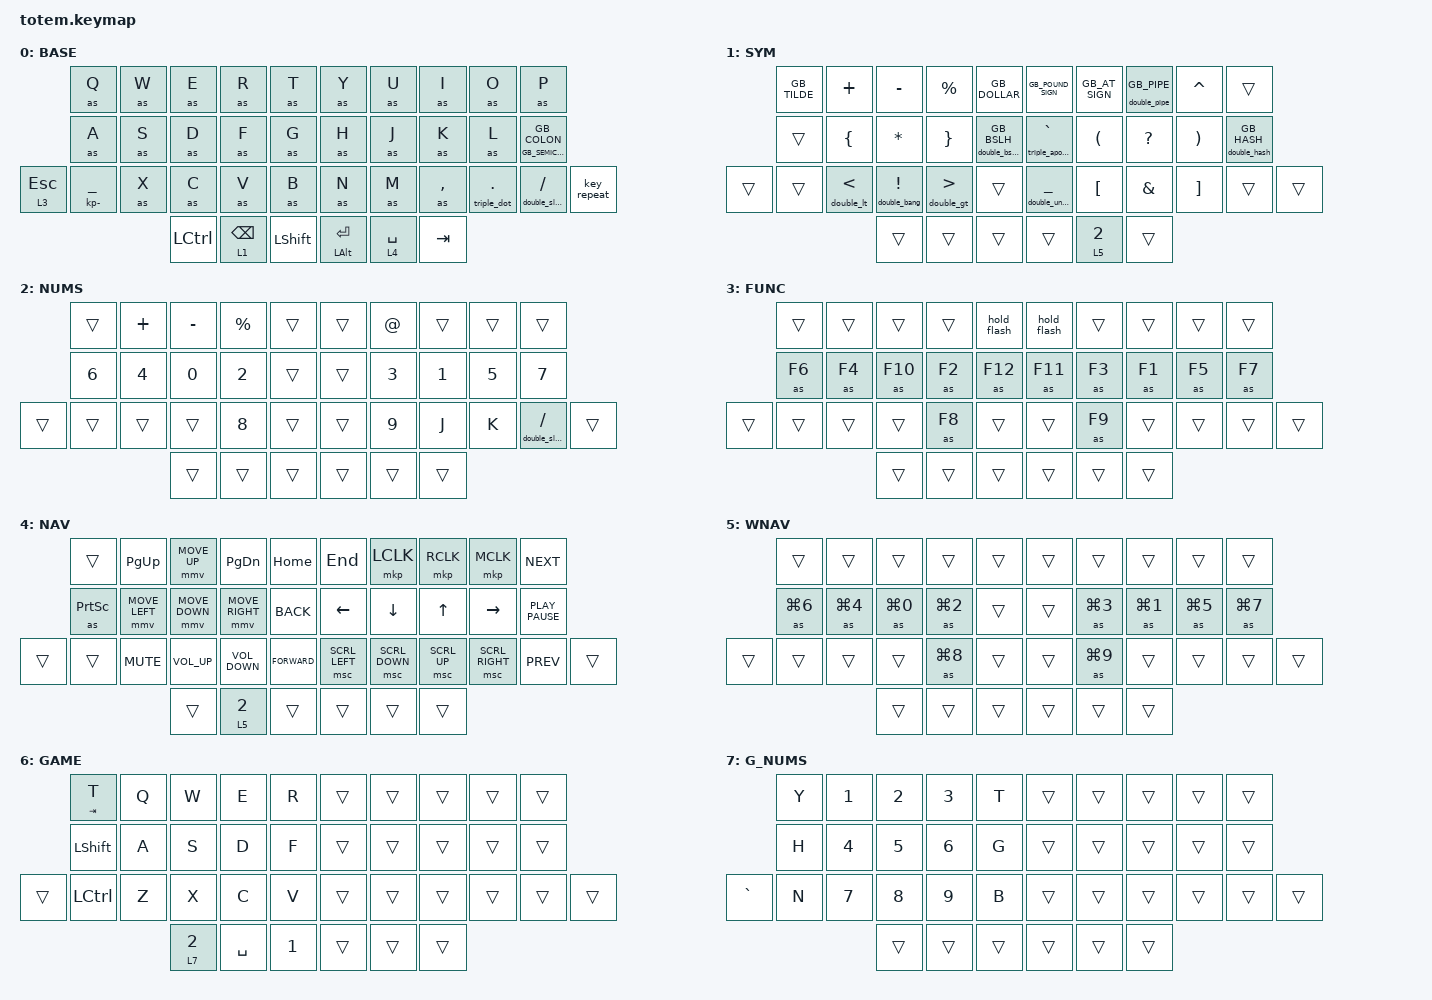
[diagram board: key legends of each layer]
//
//                                                        ▀▀▀▀▀     ▀▀▀▀▀          ▀▀█▀▀
//                                                        ▄▀▀▀▄  ▄  ▄▀▀▀▄  ▄  ▄▀▀▀▄  █  ▄▀▀▀▄
//                                                        █   █  █  █   █  █  █   █  █  █   █
//                                                         ▀▀▀   █   ▀▀▀   █   ▀▀▀   ▀   ▀▀▀
//                                                               █      ▄▄▄█▄▄▄    █   █
//                                                               ▀      █  █  █     █▄█
//                                                             ▀▀▀▀▀    █  █  █      ▀
//                                                                      ▀  ▀  ▀
//
// ▄▄▄▄▄▄▄▄▄▄▄▄▄▄▄▄▄▄▄▄▄▄▄▄▄▄▄▄▄▄▄▄▄▄▄▄▄▄▄▄▄▄▄▄▄▄▄▄▄▄▄▄▄▄▄▄▄▄▄▄▄▄▄▄▄▄▄▄▄▄▄▄▄▄▄▄▄▄▄▄▄▄▄▄▄▄▄▄▄▄▄▄▄▄▄▄▄▄▄▄▄▄▄▄▄▄▄▄▄▄▄▄▄▄▄▄▄▄▄▄▄▄▄▄▄▄▄▄▄▄▄▄▄▄▄▄▄▄▄▄▄▄▄▄▄▄▄▄▄

#include <behaviors/num_word.dtsi>
#include "keys_en_gb.h"
#include <behaviors.dtsi>
#include <dt-bindings/zmk/bt.h>
#include <dt-bindings/zmk/keys.h>
#include <dt-bindings/zmk/pointing.h>

#define BASE 0
#define NAV  1
#define SYM  2
#define ADJ  3
#define TVP1 4
#define TVP2 5

&mt {
    quick-tap-ms = <100>;
    global-quick-tap;
    flavor = "tap-preferred";
    tapping-term-ms = <170>;
};

&num_word {
    continue-list = <
    BSPC DEL
    DOT COMMA
    PLUS MINUS STAR FSLH EQUAL
    // J K AT_SIGN V G LS(G)
    >;
};

/ {
    combos {
        compatible = "zmk,combos";

        combo_ctrl_del {
            bindings = <&kp LC(DELETE)>;
            key-positions = <1 2 3>;
        };

        combo_ctrl_w_r {
            bindings = <&kp LC(W)>;
            key-positions = <7 6 8>;
        };

        combo_eq {
            bindings = <&HT_Double_Equal 0 EQUAL>;
            key-positions = <6 7>;
        };

        combo_ctrl_r {
            bindings = <&sk LCTRL>;
            key-positions = <17 18>;
        };

        combo_ctrl_l {
            bindings = <&sk LCTRL>;
            key-positions = <11 12>;
        };

        combo_del {
            bindings = <&kp DEL>;
            key-positions = <13 14>;
        };

        combo_tab {
            bindings = <&kp TAB>;
            key-positions = <11 12 13>;
        };

        combo_write {
            bindings = <&write>;
            key-positions = <16 17 18>;
        };

        combo_super_l {
            bindings = <&sk LEFT_WIN>;
            key-positions = <23 24>;
        };

        combo_super_r {
            bindings = <&sk LGUI>;
            key-positions = <27 28>;
        };

        combo_alt_l {
            bindings = <&sk LEFT_ALT>;
            key-positions = <12 13>;
        };

        combo_alt_r {
            bindings = <&sk LEFT_ALT>;
            key-positions = <16 17>;
        };

        combo_shift_l {
            bindings = <&sk LEFT_SHIFT>;
            key-positions = <24 25>;
        };

        combo_shift_r {
            bindings = <&sk LEFT_SHIFT>;
            key-positions = <26 27>;
        };

        combo_dollar {
            bindings = <&kp DOLLAR>;
            key-positions = <28 29>;
        };

        combo_close_window {
            bindings = <&quit>;
            key-positions = <22 23 24>;
            layers = <1>;
        };

        combo_capsword {
            bindings = <&caps_word>;
            key-positions = <12 17>;
        };

        combo_speech {
            bindings = <&HT_DOUBLE_SPEECH 0 GB_DQT>;
            key-positions = <11 13>;
        };

        combo_quotes {
            bindings = <&double_quote>;
            key-positions = <16 18>;
        };

        combo_leq {
            bindings = <&leq>;
            key-positions = <3 13>;
        };

        combo_from {
            bindings = <&from>;
            key-positions = <2 12>;
        };

        combo_geq2 {
            bindings = <&geq2>;
            key-positions = <6 16>;
        };

        combo_to {
            bindings = <&combo_to>;
            key-positions = <7 17>;
        };

        combo_geq1 {
            bindings = <&geq1>;
            key-positions = <13 24>;
        };

        combo_hsplit {
            bindings = <&hsplit>;
            key-positions = <11 22>;
        };

        combo_vsplit {
            bindings = <&vsplit>;
            key-positions = <22 23>;
        };

        combo_numword {
            bindings = <&numword_tapdance>;
            key-positions = <36 33>;
        };

        combo_z {
            bindings = <&kp Z>;
            key-positions = <21 22>;
        };

        combo_game_layer {
            bindings = <&tog 6>;
            key-positions = <0 21 30 9>;
        };

        combo_backspace_word {
            bindings = <&kp LC(BSPC)>;
            key-positions = <8 9>;
        };

        bt {
            bindings = <&bt BT_CLR_ALL>;
            key-positions = <22 23 24 25 26 27 28 29>;
        };

        bt_prev {
            bindings = <&bt BT_PRV>;
            key-positions = <22 23 24 25>;
        };

        bt_next {
            bindings = <&bt BT_NXT>;
            key-positions = <26 27 28 29>;
        };

        combo_l_sym_0 {
            bindings = <&kp GB_TILDE>;
            key-positions = <33 0>;
        };

        combo_l_sym_1 {
            bindings = <&kp PLUS>;
            key-positions = <33 1>;
        };

        combo_l_sym_2 {
            bindings = <&kp MINUS>;
            key-positions = <33 2>;
        };

        combo_l_sym_3 {
            bindings = <&kp PERCENT>;
            key-positions = <33 3>;
        };

        combo_l_sym_4 {
            bindings = <&kp GB_DOLLAR>;
            key-positions = <33 4>;
        };

        combo_l_sym_11 {
            bindings = <&kp LBRC>;
            key-positions = <33 11>;
        };

        combo_l_sym_12 {
            bindings = <&kp STAR>;
            key-positions = <33 12>;
        };

        combo_l_sym_13 {
            bindings = <&kp RBRC>;
            key-positions = <33 13>;
        };

        combo_l_sym_14 {
            bindings = <&HT_Double_Bslash 0 GB_BSLH>;
            key-positions = <33 14>;
        };

        combo_l_sym_22 {
            bindings = <&HT_Double_LT 0 LT>;
            key-positions = <33 22>;
        };

        combo_l_sym_23 {
            bindings = <&HT_Double_Bang 0 EXCLAMATION>;
            key-positions = <33 23>;
        };

        combo_l_sym_24 {
            bindings = <&HT_Double_GT 0 GT>;
            key-positions = <33 24>;
        };

        combo_l_num_1 {
            bindings = <&kp PLUS>;
            key-positions = <36 1>;
        };

        combo_l_num_2 {
            bindings = <&kp MINUS>;
            key-positions = <36 2>;
        };

        combo_l_num_3 {
            bindings = <&kp PERCENT>;
            key-positions = <36 3>;
        };

        combo_l_num_10 {
            bindings = <&kp N6>;
            key-positions = <36 10>;
        };

        combo_l_num_11 {
            bindings = <&kp N4>;
            key-positions = <36 11>;
        };

        combo_l_num_12 {
            bindings = <&kp N0>;
            key-positions = <36 12>;
        };

        combo_l_num_13 {
            bindings = <&kp N2>;
            key-positions = <36 13>;
        };

        combo_l_num_24 {
            bindings = <&kp N8>;
            key-positions = <36 24>;
        };

        combo_r_sym_5 {
            bindings = <&kp GB_POUND_SIGN>;
            key-positions = <36 5>;
        };

        combo_r_sym_6 {
            bindings = <&kp GB_AT_SIGN>;
            key-positions = <36 6>;
        };

        combo_r_sym_7 {
            bindings = <&HT_Double_Pipe 0 GB_PIPE>;
            key-positions = <36 7>;
        };

        combo_r_sym_8 {
            bindings = <&kp CARET>;
            key-positions = <36 8>;
        };

        combo_r_sym_15 {
            bindings = <&HT_Triple_Apostrophe 0 GRAVE>;
            key-positions = <36 15>;
        };

        combo_r_sym_16 {
            bindings = <&kp LPAR>;
            key-positions = <36 16>;
        };

        combo_r_sym_17 {
            bindings = <&kp QMARK>;
            key-positions = <36 17>;
        };

        combo_r_sym_18 {
            bindings = <&kp RPAR>;
            key-positions = <36 18>;
        };

        combo_r_sym_19 {
            bindings = <&HT_Double_Hash 0 GB_HASH>;
            key-positions = <36 19>;
        };

        combo_r_sym_26 {
            bindings = <&HT_Double_Underscore 0 UNDERSCORE>;
            key-positions = <36 26>;
        };

        combo_r_sym_27 {
            bindings = <&kp LBKT>;
            key-positions = <36 27>;
        };

        combo_r_sym_28 {
            bindings = <&kp AMPS>;
            key-positions = <36 28>;
        };

        combo_r_sym_29 {
            bindings = <&kp RBKT>;
            key-positions = <36 29>;
        };

        combo_r_num_6 {
            bindings = <&kp AT>;
            key-positions = <33 6>;
        };

        combo_r_num_16 {
            bindings = <&kp N3>;
            key-positions = <33 16>;
        };

        combo_r_num_17 {
            bindings = <&kp N1>;
            key-positions = <33 17>;
        };

        combo_r_num_18 {
            bindings = <&kp N5>;
            key-positions = <33 18>;
        };

        combo_r_num_19 {
            bindings = <&kp N7>;
            key-positions = <33 19>;
        };

        combo_r_num_27 {
            bindings = <&kp N9>;
            key-positions = <33 27>;
        };

        combo_r_num_28 {
            bindings = <&kp J>;
            key-positions = <33 28>;
        };

        combo_r_num_29 {
            bindings = <&kp K>;
            key-positions = <33 29>;
        };

        combo_flash_dongle {
            bindings = <&bootloader>;
            key-positions = <22 23 27 28 29 25 24 26>;
        };
    };

    macros {
        write: write {
            compatible = "zmk,behavior-macro";
            #binding-cells = <0>;
            bindings = <&kp ESCAPE &kp GB_COLON &kp W &kp ENTER>;
        };

        quit: quit {
            compatible = "zmk,behavior-macro";
            #binding-cells = <0>;
            bindings = <&kp LC(W) &kp Q &kp ENTER>;
        };

        from: from {
            compatible = "zmk,behavior-macro";
            #binding-cells = <0>;
            bindings = <&kp SPACE &kp LT &kp MINUS &kp SPACE>;
        };

        combo_to: to {
            compatible = "zmk,behavior-macro";
            #binding-cells = <0>;
            bindings = <&none &kp SPACE &kp MINUS &kp GT &kp SPACE>;
        };

        geq1: geq1 {
            compatible = "zmk,behavior-macro";
            #binding-cells = <0>;
            bindings = <&none &kp SPACE &kp GT &kp EQUAL &kp SPACE>;
        };

        geq2: geq2 {
            compatible = "zmk,behavior-macro";
            #binding-cells = <0>;
            bindings = <&none &kp SPACE &kp EQUAL &kp GT &kp SPACE>;
        };

        leq: leq {
            compatible = "zmk,behavior-macro";
            #binding-cells = <0>;
            bindings = <&none &kp SPACE &kp LT &kp EQUAL &kp SPACE>;
        };

        hsplit: hsplit {
            compatible = "zmk,behavior-macro";
            #binding-cells = <0>;
            bindings = <&kp LC(W) &kp S>;
        };

        vsplit: vsplit {
            compatible = "zmk,behavior-macro";
            #binding-cells = <0>;
            bindings = <&kp LC(W) &kp V>;
        };

        double_underscore: double_underscore {
            compatible = "zmk,behavior-macro";
            #binding-cells = <0>;
            bindings = <&kp UNDER &kp UNDER>;
        };

        double_lt: double_lt {
            compatible = "zmk,behavior-macro";
            #binding-cells = <0>;
            bindings = <&kp LT &kp LT>;
        };

        double_gt: double_gt {
            compatible = "zmk,behavior-macro";
            #binding-cells = <0>;
            bindings = <&kp GT &kp GT>;
        };

        double_slash: double_slash {
            compatible = "zmk,behavior-macro";
            #binding-cells = <0>;
            bindings = <&kp SLASH &kp SLASH>;
        };

        double_bslash: double_bslash {
            compatible = "zmk,behavior-macro";
            #binding-cells = <0>;
            bindings = <&kp GB_BSLH &kp GB_BSLH>;
        };

        double_hash: double_hash {
            compatible = "zmk,behavior-macro";
            #binding-cells = <0>;
            bindings = <&kp GB_HASH &kp GB_HASH>;
        };

        triple_speech: triple_speech {
            compatible = "zmk,behavior-macro";
            #binding-cells = <0>;
            bindings = <&kp GB_DQT &kp GB_DQT &kp GB_DQT>;
        };

        triple_quote: triple_quote {
            compatible = "zmk,behavior-macro";
            #binding-cells = <0>;
            bindings = <&kp SQT &kp SQT &kp SQT>;
        };

        triple_eq: triple_eq {
            compatible = "zmk,behavior-macro";
            #binding-cells = <0>;
            bindings = <&kp EQUAL &kp EQUAL &kp EQUAL>;
        };

        triple_zero: triple_zero {
            compatible = "zmk,behavior-macro";
            #binding-cells = <0>;
            bindings = <&kp N0 &kp N0 &kp N0>;
        };

        triple_dot: triple_dot {
            compatible = "zmk,behavior-macro";
            #binding-cells = <0>;
            bindings = <&kp DOT &kp DOT &kp PERIOD>;
        };

        double_pipe: double_pipe {
            compatible = "zmk,behavior-macro";
            #binding-cells = <0>;
            bindings = <&kp SPACE &kp GB_PIPE &kp GB_PIPE &kp SPACE>;
        };

        double_equal: double_equal {
            compatible = "zmk,behavior-macro";
            #binding-cells = <0>;
            bindings = <&kp SPACE &kp EQUAL &kp EQUAL &kp SPACE>;
        };

        double_amp: double_amp {
            compatible = "zmk,behavior-macro";
            #binding-cells = <0>;
            bindings = <&kp SPACE &kp AMPS &kp AMPS &kp SPACE>;
        };

        double_bang: double_bang {
            compatible = "zmk,behavior-macro";
            #binding-cells = <0>;
            bindings = <&kp SPACE &kp EXCL &kp EQUAL &kp SPACE>;
        };

        triple_apostrophe: triple_apostrophe {
            compatible = "zmk,behavior-macro";
            #binding-cells = <0>;
            bindings = <&kp GRAVE &kp GRAVE &kp GRAVE>;
        };

        as: autoshift {
            compatible = "zmk,behavior-macro-one-param";
            #binding-cells = <1>;
            bindings =
                <&macro_press>,
                <&macro_param_1to1 &macro_param_1to2 &as_ht MACRO_PLACEHOLDER MACRO_PLACEHOLDER>,
                <&macro_pause_for_release>,
                <&macro_release>,
                <&macro_param_1to1 &macro_param_1to2 &as_ht MACRO_PLACEHOLDER MACRO_PLACEHOLDER>;
        };

        shifted: macro_shifted_kp {
            #binding-cells = <1>;
            compatible = "zmk,behavior-macro-one-param";
            bindings =
                <&macro_press>,
                <&kp LSHFT &macro_param_1to1>,
                <&macro_tap>,
                <&kp MACRO_PLACEHOLDER>,
                <&macro_release>,
                <&kp LSHFT>;
        };

        double_speech: double_speech {
            compatible = "zmk,behavior-macro";
            #binding-cells = <0>;
            bindings = <&kp GB_DQT &kp GB_DQT>;
        };

        double_quote: double_quote {
            compatible = "zmk,behavior-macro";
            #binding-cells = <0>;
            bindings = <&kp SQT &kp SQT>;
        };
    };

    behaviors {
        numword_holdtap: numword_holdtap {
            compatible = "zmk,behavior-hold-tap";
            flavor = "hold-preferred";
            #binding-cells = <2>;
            tapping-term-ms = <200>;
            bindings = <&mo>, <&num_word>;
        };

        numword_tapdance: numword_tapdance {
            compatible = "zmk,behavior-tap-dance";
            #binding-cells = <0>;
            bindings = <&numword_holdtap 5 2>, <&tog 2>;
        };

        colon_switch: colon_switch {
            compatible = "zmk,behavior-mod-morph";
            #binding-cells = <0>;
            bindings = <&kp COLON>, <&kp SEMICOLON>;

            mods = <(MOD_LSFT|MOD_RSFT)>;
        };

        HT_Double_Underscore: hold_tap_double_underscore {
            compatible = "zmk,behavior-hold-tap";
            flavor = "hold-preferred";
            #binding-cells = <2>;
            tapping-term-ms = <200>;
            bindings = <&double_underscore>, <&kp>;
        };

        HT_Double_LT: ht_double_LT {
            compatible = "zmk,behavior-hold-tap";
            flavor = "hold-preferred";
            #binding-cells = <2>;
            tapping-term-ms = <200>;
            bindings = <&double_lt>, <&kp>;
        };

        HT_Double_GT: ht_double_GT {
            compatible = "zmk,behavior-hold-tap";
            flavor = "hold-preferred";
            #binding-cells = <2>;
            tapping-term-ms = <200>;
            bindings = <&double_gt>, <&kp>;
        };

        HT_Double_Slash: ht_double_slash {
            compatible = "zmk,behavior-hold-tap";
            flavor = "hold-preferred";
            #binding-cells = <2>;
            tapping-term-ms = <200>;
            bindings = <&double_slash>, <&kp>;
        };

        HT_Double_Bslash: ht_double_bslash {
            compatible = "zmk,behavior-hold-tap";
            flavor = "hold-preferred";
            #binding-cells = <2>;
            tapping-term-ms = <200>;
            bindings = <&double_bslash>, <&kp>;
        };

        HT_Double_Hash: ht_double_hash {
            compatible = "zmk,behavior-hold-tap";
            flavor = "hold-preferred";
            #binding-cells = <2>;
            tapping-term-ms = <200>;
            bindings = <&double_hash>, <&kp>;
        };

        HT_Triple_Speech: ht_triple_speech {
            compatible = "zmk,behavior-hold-tap";
            flavor = "hold-preferred";
            #binding-cells = <2>;
            tapping-term-ms = <200>;
            bindings = <&triple_speech>, <&kp>;
        };

        HT_Triple_Quote: ht_triple_quote {
            compatible = "zmk,behavior-hold-tap";
            flavor = "hold-preferred";
            #binding-cells = <2>;
            tapping-term-ms = <200>;
            bindings = <&triple_quote>, <&kp>;
        };

        HT_Triple_Eq: ht_triple_eq {
            compatible = "zmk,behavior-hold-tap";
            flavor = "hold-preferred";
            #binding-cells = <2>;
            tapping-term-ms = <200>;
            bindings = <&triple_eq>, <&kp>;
        };

        HT_Triple_Zero: ht_triple_zero {
            compatible = "zmk,behavior-hold-tap";
            flavor = "hold-preferred";
            #binding-cells = <2>;
            tapping-term-ms = <200>;
            bindings = <&triple_zero>, <&kp>;
        };

        HT_Triple_Dot: ht_triple_dot {
            compatible = "zmk,behavior-hold-tap";
            flavor = "hold-preferred";
            #binding-cells = <2>;
            tapping-term-ms = <200>;
            bindings = <&triple_dot>, <&kp>;
        };

        HT_Double_Pipe: ht_double_pipe {
            compatible = "zmk,behavior-hold-tap";
            flavor = "hold-preferred";
            #binding-cells = <2>;
            tapping-term-ms = <200>;
            bindings = <&double_pipe>, <&kp>;
        };

        HT_Double_Equal: ht_double_equal {
            compatible = "zmk,behavior-hold-tap";
            flavor = "hold-preferred";
            #binding-cells = <2>;
            tapping-term-ms = <200>;
            bindings = <&double_equal>, <&kp>;
        };

        HT_Double_Amps: ht_double_amps {
            compatible = "zmk,behavior-hold-tap";
            flavor = "hold-preferred";
            #binding-cells = <2>;
            tapping-term-ms = <200>;
            bindings = <&double_amp>, <&kp>;
        };

        HT_Double_Bang: ht_double_bang {
            compatible = "zmk,behavior-hold-tap";
            flavor = "hold-preferred";
            #binding-cells = <2>;
            tapping-term-ms = <200>;
            bindings = <&double_bang>, <&kp>;
        };

        HT_Triple_Apostrophe: ht_triple_apostrophe {
            compatible = "zmk,behavior-hold-tap";
            flavor = "hold-preferred";
            #binding-cells = <2>;
            tapping-term-ms = <200>;
            bindings = <&triple_apostrophe>, <&kp>;
        };

        HT_underscore_hyphen: HT_underscore_hyphen {
            compatible = "zmk,behavior-hold-tap";
            flavor = "hold-preferred";
            #binding-cells = <2>;
            tapping-term-ms = <200>;
            bindings = <&kp>, <&kp>;
        };

        as_ht: autoshift_hold_tap {
            compatible = "zmk,behavior-hold-tap";
            bindings = <&shifted>, <&kp>;

            flavor = "tap-preferred";
            quick-tap-ms = <150>;
            #binding-cells = <2>;
            tapping-term-ms = <250>;
        };

        colon_switch_2: colon_switch_2 {
            compatible = "zmk,behavior-hold-tap";
            bindings = <&kp>, <&kp>;

            #binding-cells = <2>;
            tapping-term-ms = <200>;
        };

        HT_DOUBLE_SPEECH: HT_DOUBLE_SPEECH {
            compatible = "zmk,behavior-hold-tap";
            flavor = "hold-preferred";
            #binding-cells = <2>;
            tapping-term-ms = <200>;
            bindings = <&double_speech>, <&kp>;
        };

        HT_DOUBLE_QUOTE: HT_DOUBLE_QUOTE {
            compatible = "zmk,behavior-hold-tap";
            flavor = "hold-preferred";
            #binding-cells = <2>;
            tapping-term-ms = <200>;
            bindings = <&triple_quote>, <&kp>;
        };

        hold_flash: hold_flash {
            compatible = "zmk,behavior-tap-dance";
            label = "HOLD_FLASH";
            #binding-cells = <0>;
            bindings = <&trans>, <&bootloader>;
        };
    };

    keymap {
        compatible = "zmk,keymap";

        base_layer {
            display-name = "BASE";
            bindings = <
              &as Q                    &as W  &as E      &as R            &as T        &as Y               &as U        &as I      &as O                 &as P
              &as A                    &as S  &as D      &as F            &as G        &as H               &as J        &as K      &as L                 &mt GB_SEMICOLON GB_COLON
&lt 3 ESCAPE  &mt KP_MINUS UNDERSCORE  &as X  &as C      &as V            &as B        &as N               &as M        &as COMMA  &HT_Triple_Dot 0 DOT  &HT_Double_Slash 0 SLASH   &key_repeat
                                              &kp LCTRL  &lt 1 BACKSPACE  &kp LSHFT    &mt LEFT_ALT ENTER  &lt 4 SPACE  &kp TAB
            >;
        };

        sym_layer {
            display-name = "SYM";
            bindings = <
        &kp GB_TILDE  &kp PLUS            &kp MINUS                      &kp PERCENT         &kp GB_DOLLAR                  &kp GB_POUND_SIGN                   &kp GB_AT_SIGN        &HT_Double_Pipe 0 GB_PIPE  &kp CARET  &trans
        &trans        &kp LBRC            &kp STAR                       &kp RBRC            &HT_Double_Bslash 0 GB_BSLH    &HT_Triple_Apostrophe 0 GRAVE       &kp LPAR              &kp QMARK                  &kp RPAR   &HT_Double_Hash 0 GB_HASH
&trans  &trans        &HT_Double_LT 0 LT  &HT_Double_Bang 0 EXCLAMATION  &HT_Double_GT 0 GT  &trans                         &HT_Double_Underscore 0 UNDERSCORE  &kp LBKT              &kp AMPS                   &kp RBKT   &trans                     &trans
                                          &trans                         &trans              &trans                         &trans                              &numword_holdtap 5 2  &trans
            >;
        };

        number_layer {
            display-name = "NUMS";
            bindings = <
        &trans  &kp PLUS  &kp MINUS  &kp PERCENT  &trans    &trans  &kp AT  &trans  &trans  &trans
        &kp N6  &kp N4    &kp N0     &kp N2       &trans    &trans  &kp N3  &kp N1  &kp N5  &kp N7
&trans  &trans  &trans    &trans     &kp N8       &trans    &trans  &kp N9  &kp J   &kp K   &HT_Double_Slash 0 SLASH  &trans
                          &trans     &trans       &trans    &trans  &trans  &trans
            >;
        };

        fun_layer {
            display-name = "FUNC";
            bindings = <
        &trans  &trans  &trans   &trans  &hold_flash    &hold_flash  &trans  &trans  &trans  &trans
        &as F6  &as F4  &as F10  &as F2  &as F12        &as F11      &as F3  &as F1  &as F5  &as F7
&trans  &trans  &trans  &trans   &as F8  &trans         &trans       &as F9  &trans  &trans  &trans  &trans
                        &trans   &trans  &trans         &trans       &trans  &trans
            >;
        };

        nav_layer {
            display-name = "NAV";
            bindings = <
        &trans           &kp PG_UP       &mmv MOVE_UP     &kp PG_DN             &kp HOME         &kp END         &mkp LCLK       &mkp RCLK     &mkp MCLK        &kp K_NEXT
        &as PRINTSCREEN  &mmv MOVE_LEFT  &mmv MOVE_DOWN   &mmv MOVE_RIGHT       &kp K_BACK       &kp LEFT        &kp DOWN        &kp UP        &kp RIGHT        &kp K_PLAY_PAUSE
&trans  &trans           &kp K_MUTE      &kp K_VOLUME_UP  &kp K_VOLUME_DOWN     &kp K_FORWARD    &msc SCRL_LEFT  &msc SCRL_DOWN  &msc SCRL_UP  &msc SCRL_RIGHT  &kp K_PREV        &trans
                                         &trans           &numword_holdtap 5 2  &trans           &trans          &trans          &trans
            >;
        };

        wnav_layer {
            display-name = "WNAV";
            bindings = <
        &trans      &trans      &trans      &trans      &trans    &trans  &trans      &trans      &trans      &trans
        &as LG(N6)  &as LG(N4)  &as LG(N0)  &as LG(N2)  &trans    &trans  &as LG(N3)  &as LG(N1)  &as LG(N5)  &as LG(N7)
&trans  &trans      &trans      &trans      &as LG(N8)  &trans    &trans  &as LG(N9)  &trans      &trans      &trans      &trans
                                &trans      &trans      &trans    &trans  &trans      &trans
            >;
        };

        game_layer {
            display-name = "GAME";
            bindings = <
        &mt TAB T  &kp Q  &kp W     &kp E      &kp R     &trans  &trans  &trans  &trans  &trans
        &kp LSHFT  &kp A  &kp S     &kp D      &kp F     &trans  &trans  &trans  &trans  &trans
&trans  &kp LCTRL  &kp Z  &kp X     &kp C      &kp V     &trans  &trans  &trans  &trans  &trans  &trans
                          &lt 7 N2  &kp SPACE  &kp N1    &trans  &trans  &trans
            >;
        };

        game_num_layer {
            display-name = "G_NUMS";
            bindings = <
           &kp Y  &kp N1  &kp N2  &kp N3  &kp T     &trans  &trans  &trans  &trans  &trans
           &kp H  &kp N4  &kp N5  &kp N6  &kp G     &trans  &trans  &trans  &trans  &trans
&kp GRAVE  &kp N  &kp N7  &kp N8  &kp N9  &kp B     &trans  &trans  &trans  &trans  &trans  &trans
                          &trans  &trans  &trans    &trans  &trans  &trans
            >;
        };
    };
};
